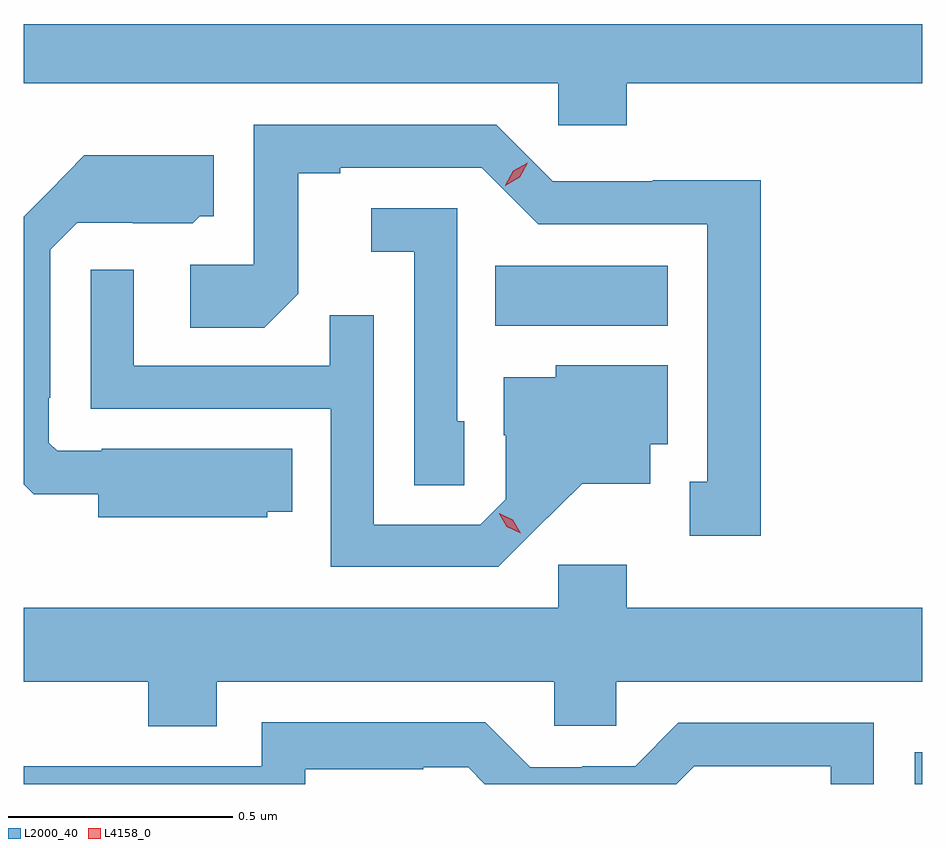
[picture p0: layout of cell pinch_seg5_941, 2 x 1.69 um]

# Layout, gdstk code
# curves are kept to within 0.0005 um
import gdstk
lib = gdstk.Library(unit=1e-6, precision=1e-09)
def R(c, l, rs):  # rectangles x0, y0, x1, y1
    for r in rs: c.add(gdstk.rectangle(r[:2], r[2:], *l))
def P(c, l, *ps):  # polygons
    for p in ps: c.add(gdstk.Polygon(p, *l))
L2000_40 = (2000, 40)
L4158_0 = (4158, 0)

pinch_seg5_941 = lib.new_cell('pinch_seg5_941')
R(pinch_seg5_941, L2000_40, [(663.997,913.808,664.014,913.879), (663.064,914.828,663.448,914.962)])
P(pinch_seg5_941, L2000_40, [(663.356,915.368),(664.014,915.368),(664.014,915.5),(662.014,915.5),(662.014,915.368),(663.204,915.368),(663.204,915.275),(663.356,915.275)],
  [(663.655,915.152),(663.414,915.152),(663.414,915.15),(663.192,915.15),(663.066,915.276),(662.526,915.276),(662.526,914.964),(662.385,914.964),(662.385,914.824),(662.549,914.824),(662.625,914.9),(662.625,915.168),(662.719,915.168),(662.719,915.18),(663.033,915.18),(663.159,915.054),(663.536,915.054),(663.536,914.481),(663.497,914.481),(663.497,914.361),(663.655,914.361)],
  [(662.556,914.414),(662.612,914.414),(662.612,914.554),(662.188,914.554),(662.188,914.55),(662.088,914.55),(662.07,914.568),(662.07,914.668),(662.073,914.668),(662.073,914.997),(662.133,915.057),(662.256,915.057),(662.256,915.056),(662.39,915.056),(662.406,915.072),(662.437,915.072),(662.437,915.208),(662.149,915.208),(662.014,915.071),(662.014,914.475),(662.036,914.453),(662.18,914.453),(662.18,914.402),(662.556,914.402)],
  [(662.994,914.616),(662.979,914.616),(662.979,915.09),(662.787,915.09),(662.787,914.993),(662.883,914.993),(662.883,914.473),(662.994,914.473)],
  [(663.154,914.375),(663.257,914.477),(663.409,914.477),(663.409,914.564),(663.448,914.564),(663.448,914.74),(663.198,914.74),(663.198,914.713),(663.083,914.713),(663.083,914.584),(663.087,914.584),(663.087,914.442),(663.03,914.385),(662.793,914.385),(662.793,914.852),(662.695,914.852),(662.695,914.739),(662.259,914.739),(662.259,914.953),(662.163,914.953),(662.163,914.643),(662.697,914.643),(662.697,914.292),(663.07,914.292)],
  [(662.443,914.036),(663.195,914.036),(663.195,913.938),(663.333,913.938),(663.333,914.036),(664.014,914.036),(664.014,914.2),(663.356,914.2),(663.356,914.296),(663.204,914.296),(663.204,914.2),(662.014,914.2),(662.014,914.036),(662.291,914.036),(662.291,913.937),(662.443,913.937)],
  [(662.64,913.841),(662.903,913.841),(662.903,913.845),(663.003,913.845),(663.04,913.808),(663.467,913.808),(663.507,913.848),(663.81,913.848),(663.81,913.808),(663.906,913.808),(663.906,913.944),(663.471,913.944),(663.375,913.848),(663.257,913.848),(663.257,913.845),(663.141,913.845),(663.041,913.945),(662.544,913.945),(662.544,913.848),(662.014,913.848),(662.014,913.808),(662.64,913.808)])
P(pinch_seg5_941, L4158_0, [(663.086,915.14),(663.086,915.141),(663.104,915.173),(663.136,915.191),(663.136,915.191),(663.136,915.191),(663.118,915.159),(663.086,915.14)],
  [(663.12,914.366),(663.089,914.381),(663.072,914.41),(663.072,914.411),(663.072,914.411),(663.103,914.396),(663.12,914.366),(663.12,914.366)])

lib.write_gds('pinch_seg5_941.gds')
